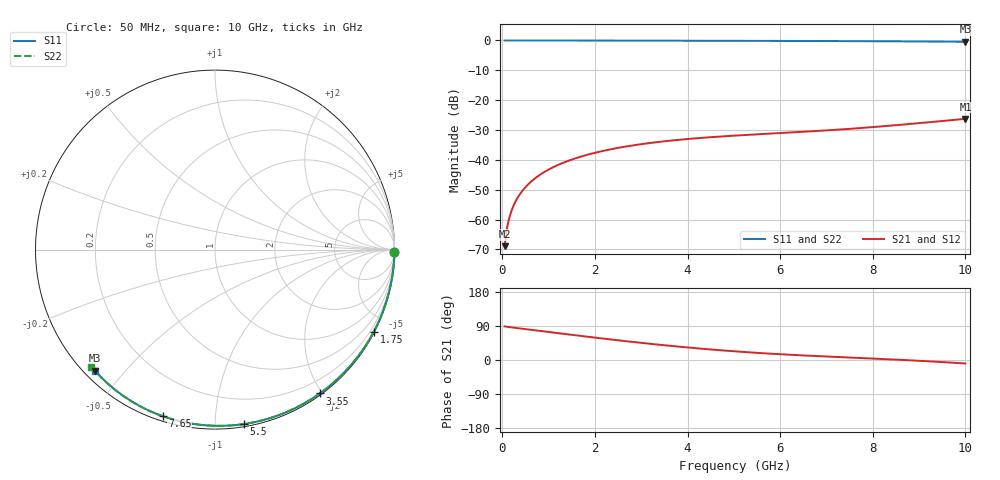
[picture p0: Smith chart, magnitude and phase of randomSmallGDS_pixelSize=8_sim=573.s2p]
! freq	dB(S11)	phase(S11)	dB(S12)	phase(S12)
!  dB(S21)	phase(S21)	dB(S22)	phase(S22)
!S-par simulation data
#  GHz  S  DB  R 50
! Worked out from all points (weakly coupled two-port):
!   200 points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, 50 MHz to 10 GHz, reference 50 ohm
!   highest |S21| = -26.25 dB at 10 GHz (marker M1); lowest = -68.9 dB at 50 MHz (marker M2)
!   lowest |S11| = -0.4 dB at 10 GHz (marker M3), VSWR 38.62, Z = 1.52 - j20.8 ohm
!   |S11| at or under -10 dB: nowhere
!   |S22| runs from -0.5 to 0.0 dB; largest |S21 - S12| = 0
!   S11 on the Smith chart (normalised r, x): 50 MHz: open; 1.75 GHz: 0.04, -4.12; 3.55 GHz: 0.02, -1.96; 5.5 GHz: 0.02, -1.18; 7.65 GHz: 0.02, -0.73; 10 GHz: 0.03, -0.42
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0.05  -0.00 -0.8  -68.89 88.8  -68.89 88.8  -0.00 -0.8
0.1  -0.00 -1.6  -62.91 87.7  -62.91 87.7  -0.00 -1.6
0.15  -0.00 -2.4  -59.43 86.8  -59.43 86.8  -0.00 -2.4
0.2  -0.00 -3.2  -56.97 86.0  -56.97 86.0  -0.00 -3.2
0.25  -0.00 -4.0  -55.06 85.3  -55.06 85.3  -0.00 -4.0
0.35  -0.00 -5.5  -52.18 83.8  -52.18 83.8  -0.00 -5.6
0.5  -0.01 -7.9  -49.13 81.6  -49.13 81.6  -0.01 -8.0
0.7  -0.01 -11.0  -46.25 78.6  -46.25 78.6  -0.01 -11.2
1  -0.02 -15.7  -43.23 74.0  -43.23 74.0  -0.02 -15.9
1.35  -0.03 -21.1  -40.74 68.7  -40.74 68.7  -0.03 -21.4
1.75  -0.04 -27.3  -38.66 62.7  -38.66 62.7  -0.04 -27.6
2.5  -0.05 -38.6  -35.97 52.0  -35.97 52.0  -0.05 -39.1
3.4  -0.07 -51.8  -33.94 40.1  -33.94 40.1  -0.07 -52.5
3.55  -0.07 -53.9  -33.68 38.3  -33.68 38.3  -0.07 -54.6
4.3  -0.09 -64.5  -32.62 29.8  -32.62 29.8  -0.09 -65.3
5.05  -0.12 -74.7  -31.84 22.6  -31.84 22.6  -0.12 -75.6
5.5  -0.13 -80.6  -31.44 18.9  -31.44 18.9  -0.13 -81.7
6.7  -0.19 -95.9  -30.40 10.9  -30.40 10.9  -0.19 -97.1
7.65  -0.24 -107.5  -29.43 5.8  -29.43 5.8  -0.24 -108.8
8.35  -0.29 -115.8  -28.57 1.9  -28.57 1.9  -0.30 -117.2
9.2  -0.37 -125.6  -27.41 -3.4  -27.41 -3.4  -0.37 -127.2
10  -0.45 -134.7  -26.25 -9.2  -26.25 -9.2  -0.46 -136.5
